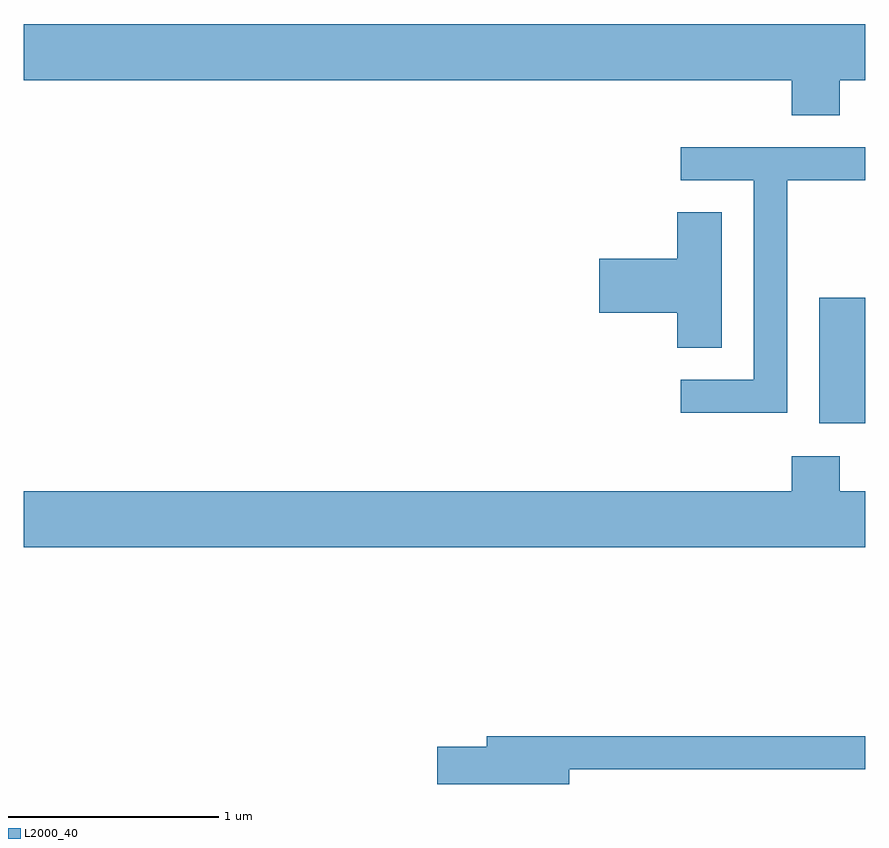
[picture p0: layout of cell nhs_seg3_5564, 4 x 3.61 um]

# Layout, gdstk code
import gdstk
lib = gdstk.Library(unit=1e-6, precision=1e-09)
def R(c, l, rs):  # rectangles x0, y0, x1, y1
    for r in rs: c.add(gdstk.rectangle(r[:2], r[2:], *l))
def P(c, l, *ps):  # polygons
    for p in ps: c.add(gdstk.Polygon(p, *l))
L2000_40 = (2000, 40)

nhs_seg3_5564 = lib.new_cell('nhs_seg3_5564')
R(nhs_seg3_5564, L2000_40, [(351.391,1237.606,351.611,1238.204)])
P(nhs_seg3_5564, L2000_40, [(351.489,1239.236),(351.611,1239.236),(351.611,1239.504),(347.611,1239.504),(347.611,1239.236),(351.261,1239.236),(351.261,1239.071),(351.489,1239.071)],
  [(351.239,1238.761),(351.611,1238.761),(351.611,1238.919),(350.733,1238.919),(350.733,1238.761),(351.081,1238.761),(351.081,1237.814),(350.733,1237.814),(350.733,1237.656),(351.239,1237.656)],
  [(350.929,1238.609),(350.716,1238.609),(350.716,1238.389),(350.346,1238.389),(350.346,1238.131),(350.716,1238.131),(350.716,1237.966),(350.929,1237.966)],
  [(351.611,1237.284),(351.489,1237.284),(351.489,1237.449),(351.261,1237.449),(351.261,1237.284),(347.611,1237.284),(347.611,1237.016),(351.611,1237.016)],
  [(350.204,1235.961),(351.611,1235.961),(351.611,1236.119),(349.811,1236.119),(349.811,1236.069),(349.576,1236.069),(349.576,1235.892),(350.204,1235.892)])

lib.write_gds('nhs_seg3_5564.gds')
